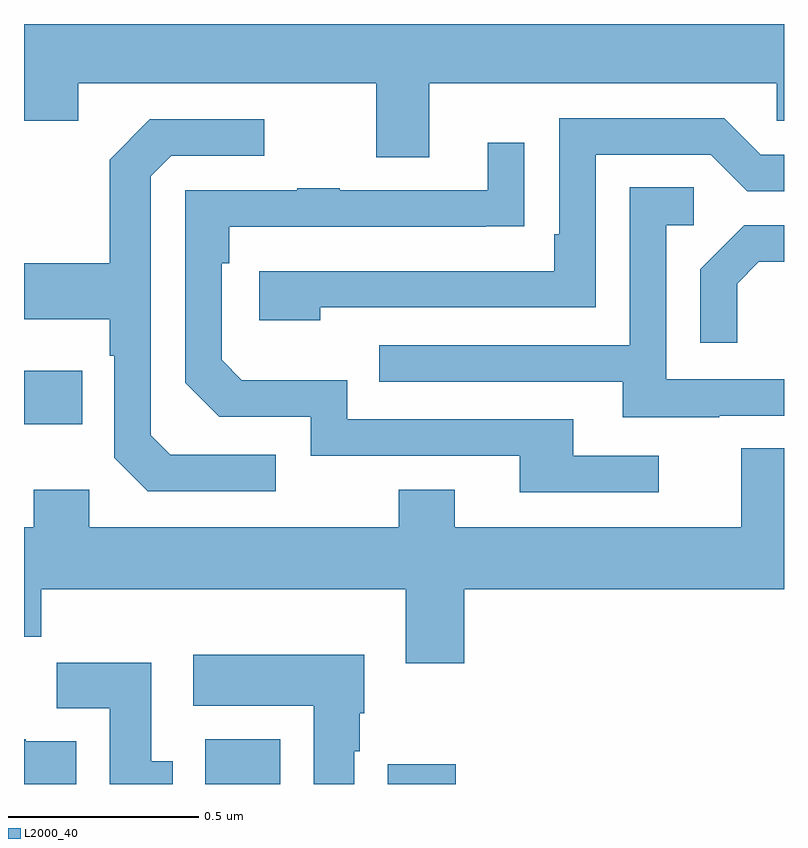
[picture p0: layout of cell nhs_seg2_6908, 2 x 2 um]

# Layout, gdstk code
import gdstk
lib = gdstk.Library(unit=1e-6, precision=1e-09)
def R(c, l, rs):  # rectangles x0, y0, x1, y1
    for r in rs: c.add(gdstk.rectangle(r[:2], r[2:], *l))
def P(c, l, *ps):  # polygons
    for p in ps: c.add(gdstk.Polygon(p, *l))
L2000_40 = (2000, 40)

nhs_seg2_6908 = lib.new_cell('nhs_seg2_6908')
R(nhs_seg2_6908, L2000_40, [(197.477,637.8,197.674,637.918), (197.957,637.8,198.136,637.852), (197,638.747,197.153,638.887)])
P(nhs_seg2_6908, L2000_40, [(198.067,639.644),(198.981,639.644),(198.981,639.546),(199,639.546),(199,639.8),(197,639.8),(197,639.545),(197.143,639.545),(197.143,639.644),(197.927,639.644),(197.927,639.45),(198.067,639.45)],
  [(197.78,639.054),(198.504,639.054),(198.504,639.456),(198.807,639.456),(198.903,639.36),(199,639.36),(199,639.456),(198.939,639.456),(198.843,639.552),(198.408,639.552),(198.408,639.247),(198.395,639.247),(198.395,639.15),(197.619,639.15),(197.619,639.02),(197.78,639.02)],
  [(197.662,638.667),(197.385,638.667),(197.334,638.718),(197.334,639.399),(197.388,639.453),(197.632,639.453),(197.632,639.549),(197.331,639.549),(197.226,639.443),(197.226,639.171),(197,639.171),(197,639.023),(197.226,639.023),(197.226,638.927),(197.238,638.927),(197.238,638.658),(197.325,638.571),(197.662,638.571)],
  [(198.67,638.664),(198.445,638.664),(198.445,638.76),(197.85,638.76),(197.85,638.863),(197.573,638.863),(197.52,638.916),(197.52,639.17),(197.54,639.17),(197.54,639.267),(198.215,639.267),(198.215,639.268),(198.317,639.268),(198.317,639.487),(198.221,639.487),(198.221,639.363),(197.831,639.363),(197.831,639.368),(197.719,639.368),(197.719,639.363),(197.424,639.363),(197.424,638.856),(197.514,638.766),(197.754,638.766),(197.754,638.664),(198.305,638.664),(198.305,638.568),(198.67,638.568)],
  [(198.829,638.769),(199,638.769),(199,638.865),(198.69,638.865),(198.69,639.27),(198.763,639.27),(198.763,639.371),(198.594,639.371),(198.594,638.955),(197.935,638.955),(197.935,638.859),(198.575,638.859),(198.575,638.765),(198.829,638.765)],
  [(198.877,639.117),(198.934,639.174),(199,639.174),(199,639.27),(198.896,639.27),(198.78,639.154),(198.78,638.961),(198.877,638.961)],
  [(198.158,638.312),(199,638.312),(199,638.684),(198.887,638.684),(198.887,638.476),(198.133,638.476),(198.133,638.575),(197.986,638.575),(197.986,638.476),(197.172,638.476),(197.172,638.575),(197.026,638.575),(197.026,638.476),(197,638.476),(197,638.188),(197.045,638.188),(197.045,638.312),(198.005,638.312),(198.005,638.118),(198.158,638.118)],
  [(197.869,637.886),(197.884,637.886),(197.884,637.986),(197.896,637.986),(197.896,638.14),(197.445,638.14),(197.445,638.006),(197.762,638.006),(197.762,637.8),(197.869,637.8)],
  [(197.392,637.86),(197.335,637.86),(197.335,638.119),(197.086,638.119),(197.086,638),(197.225,638),(197.225,637.8),(197.392,637.8)],
  [(197.137,637.912),(197.004,637.912),(197.004,637.918),(197,637.918),(197,637.8),(197.137,637.8)])

lib.write_gds('nhs_seg2_6908.gds')
